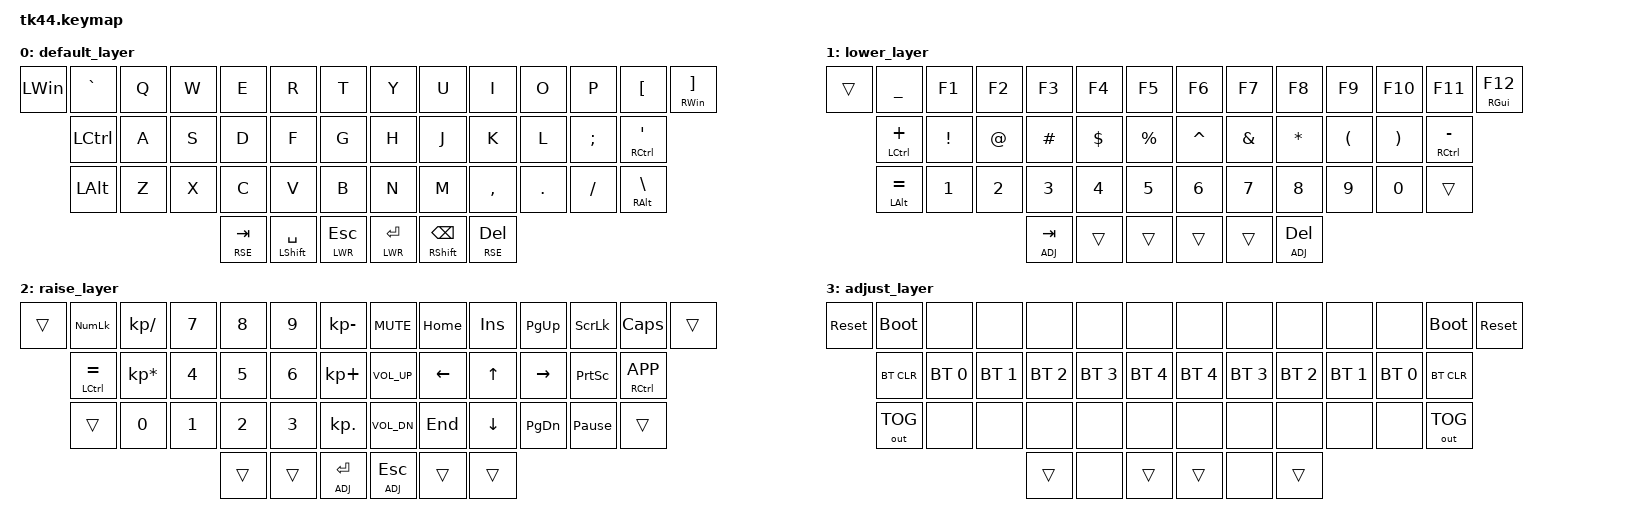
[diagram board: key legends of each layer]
/*
 * Copyright (c) 2020 The ZMK Contributors
 *
 * SPDX-License-Identifier: MIT
 */

#include <behaviors.dtsi>
#include <dt-bindings/zmk/bt.h>
#include <dt-bindings/zmk/keys.h>
#include <dt-bindings/zmk/outputs.h>

#define DEF 0
#define LWR 1
#define RSE 2
#define ADJ 3

&lt {
    quick-tap-ms = <125>;
};

&mt {
    quick-tap-ms = <125>;
};

/ {
    combos {
        compatible = "zmk,combos";

        combo_cps {
            timeout-ms = <20>;
            key-positions = <21 42>;
            bindings = <&trans>;
        };

        combo_cpsl {
            timeout-ms = <20>;
            key-positions = <18 39>;
            bindings = <&trans>;
        };

        combo_lbrc {
            timeout-ms = <20>;
            key-positions = <5 6>;
            bindings = <&kp LBKT>;
        };

        combo_rbrc {
            timeout-ms = <20>;
            key-positions = <7 8>;
            bindings = <&kp RBKT>;
        };

        combo_lbr {
            timeout-ms = <20>;
            key-positions = <18 19>;
            bindings = <&kp LPAR>;
        };

        combo_rbr {
            timeout-ms = <20>;
            key-positions = <20 21>;
            bindings = <&kp RPAR>;
        };

        combo_lcbr {
            timeout-ms = <20>;
            key-positions = <30 31>;
            bindings = <&kp LBRC>;
        };

        combo_rcbr {
            timeout-ms = <20>;
            key-positions = <32 33>;
            bindings = <&kp RBRC>;
        };

        combo_mins {
            timeout-ms = <20>;
            key-positions = <22 23>;
            bindings = <&kp MINUS>;
        };

        combo_mns {
            timeout-ms = <20>;
            key-positions = <23 24>;
            bindings = <&kp UNDER>;
        };

        combo_eql {
            timeout-ms = <20>;
            key-positions = <8 9>;
            bindings = <&kp EQUAL>;
        };

        combo_pls {
            timeout-ms = <20>;
            key-positions = <33 34>;
            bindings = <&kp PLUS>;
        };

        combo_spc {
            timeout-ms = <20>;
            key-positions = <9 10>;
            bindings = <&kp SPACE>;
        };

        combo_ent {
            timeout-ms = <20>;
            key-positions = <5 19>;
            bindings = <&kp RET>;
        };

        combo_bksp {
            timeout-ms = <20>;
            key-positions = <4 5>;
            bindings = <&kp BSPC>;
        };

        combo_lalp {
            timeout-ms = <20>;
            key-positions = <10 11>;
            bindings = <&kp LA(P)>;
        };

        combo_lalp2 {
            timeout-ms = <20>;
            key-positions = <11 12>;
            bindings = <&kp RG(LBKT)>;
        };

        combo_cps11 {
            timeout-ms = <20>;
            bindings = <&kp CAPS>;
            key-positions = <32 21>;
        };

        combo_cps112 {
            timeout-ms = <20>;
            bindings = <&kp CAPS>;
            key-positions = <31 18>;
        };

        uh_combo {
            timeout-ms = <20>;
            bindings = <&kp ENTER>;
            key-positions = <20 8>;
        };
    };

    keymap {
        compatible = "zmk,keymap";

        default_layer {
            // -----------------------------------------------------------------------------------------
            // |  GUI |   ~  |  Q  |  W  |  E  |  R  |  T  |   |  Y  |  U   |  I  |  O  |  P  |  [   | GUI/] |
            //        | CTRL |  A  |  S  |  D  |  F  |  G  |   |  H  |  J   |  K  |  L  |  ;  |CTRL/'|
            //        | LALT |  Z  |  X  |  C  |  V  |  B  |   |  N  |  M   |  ,  |  .  |  /  | RALT |
            //                           | RSE | SPC | LWR |   | LWR | BKSP | RSE |

            bindings = <
&kp LWIN  &kp GRAVE  &kp Q  &kp W  &kp E        &kp R            &kp T        &kp Y        &kp U           &kp I        &kp O    &kp P     &kp LBKT       &mt RWIN RBKT
          &kp LCTRL  &kp A  &kp S  &kp D        &kp F            &kp G        &kp H        &kp J           &kp K        &kp L    &kp SEMI  &mt RCTRL SQT
          &kp LALT   &kp Z  &kp X  &kp C        &kp V            &kp B        &kp N        &kp M           &kp COMMA    &kp DOT  &kp FSLH  &mt RALT BSLH
                                   &lt RSE TAB  &mt LSHFT SPACE  &lt LWR ESC  &lt LWR RET  &mt RSHFT BSPC  &lt RSE DEL
            >;
        };

        lower_layer {
            // -----------------------------------------------------------------------------------------
            // |     |  _  |  F1 |  F2 |  F3 |  F4 |  F5 |   |  F6 |  F7 |  F8 |  F9 | F10 | F11 | F12 |
            //       |  +  |  !  |  @  |  #  |  $  |  %  |   |  ^  |  &  |  *  |  (  |  )  |  -  |
            //       |  =  |  1  |  2  |  3  |  4  |  5  |   |  6  |  7  |  8  |  9  |  0  |     |
            //                    | GUI |     | SPC |   | ENT |     | ALT |

            bindings = <
&trans  &kp UNDER       &kp F1    &kp F2  &kp F3       &kp F4    &kp F5     &kp F6     &kp F7    &kp F8       &kp F9    &kp F10   &kp F11          &mt RGUI F12
        &mt LCTRL PLUS  &kp EXCL  &kp AT  &kp HASH     &kp DLLR  &kp PRCNT  &kp CARET  &kp AMPS  &kp STAR     &kp LPAR  &kp RPAR  &mt RCTRL MINUS
        &mt LALT EQUAL  &kp N1    &kp N2  &kp N3       &kp N4    &kp N5     &kp N6     &kp N7    &kp N8       &kp N9    &kp N0    &trans
                                          &lt ADJ TAB  &trans    &trans     &trans     &trans    &lt ADJ DEL
            >;
        };

        raise_layer {
            // -----------------------------------------------------------------------------------------
            // |     | NMLK |  /  |  7  |  8  |  9  |  -  |   | VOLU| HOME| PRSC| PGUP| SCLK| CLCK|     |
            //       | CTRL |  *  |  4  |  5  |  6  |  +  |   | MUT | LEFT|  UP | RGHT| INS | APP |
            //       |      |  0  |  1  |  2  |  3  |  .  |   | VOLD| END | DOWN| PGDN| PAUS|     |
            //                          |     |     | ADJ |   | ADJ |     |     |

            bindings = <
&trans  &kp KP_NUM       &kp KP_SLASH     &kp N7  &kp N8  &kp N9  &kp KP_MINUS  &kp C_MUTE    &kp HOME  &kp INS   &kp PG_UP  &kp SLCK         &kp CAPS         &trans
        &mt LCTRL EQUAL  &kp KP_MULTIPLY  &kp N4  &kp N5  &kp N6  &kp KP_PLUS   &kp C_VOL_UP  &kp LEFT  &kp UP    &kp RIGHT  &kp PSCRN        &mt RCTRL K_APP
        &trans           &kp N0           &kp N1  &kp N2  &kp N3  &kp KP_DOT    &kp C_VOL_DN  &kp END   &kp DOWN  &kp PG_DN  &kp PAUSE_BREAK  &trans
                                                  &trans  &trans  &lt ADJ RET   &lt ADJ ESC   &trans    &trans
            >;
        };

        adjust_layer {
            // -----------------------------------------------------------------------------------------
            // | RST | BLDR |     |     |     |     |     |   |     |     |     |     |     | BLDR | RST |
            //       | BTCLR| BT0 | BT1 | BT2 | BT3 | BT4 |   | BT4 | BT3 | BT2 | BT1 | BT0 | BTCLR|
            //       |      |     |     |     |     |     |   |     |     |     |     |     |      |
            //                          |     |     |     |   |     |     |     |

            bindings = <
&sys_reset  &bootloader   &none         &none         &none         &none         &none         &none         &none         &none         &none         &none         &bootloader   &sys_reset
            &bt BT_CLR    &bt BT_SEL 0  &bt BT_SEL 1  &bt BT_SEL 2  &bt BT_SEL 3  &bt BT_SEL 4  &bt BT_SEL 4  &bt BT_SEL 3  &bt BT_SEL 2  &bt BT_SEL 1  &bt BT_SEL 0  &bt BT_CLR
            &out OUT_TOG  &none         &none         &none         &none         &none         &none         &none         &none         &none         &none         &out OUT_TOG
                                                      &trans        &none         &trans        &trans        &none         &trans
            >;
        };
    };
};
